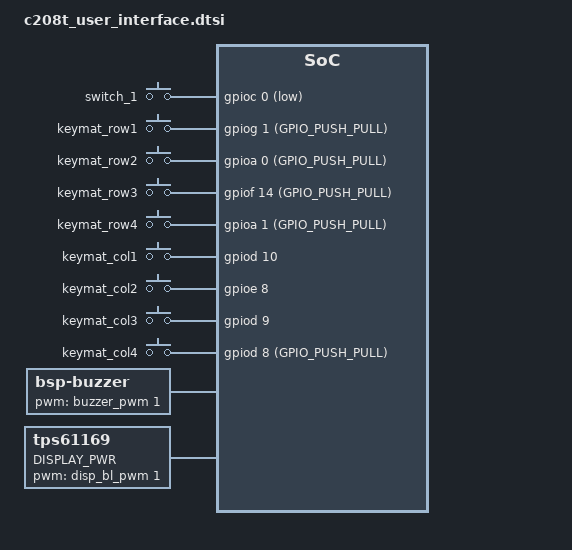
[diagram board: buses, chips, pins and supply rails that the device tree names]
/*
 * Copyright (c) 2024 Acme CPU
 *
 */

/*
	Note:
	All of the switches cannot have an interrupt because of limited number of EXTI IRQn of STM32H7
	see reference manual section 15.4:
		the Pn0 are grouped to EXTI0, similarly Pn1 are grouped to EXTI1 and so on.
		That means if PD6 is configured are an EXTI6 interrupt, we cannot configure PA6 as
		that EXTI line is already used and we will bet a -EBUSY (-16) error number
		
	A solution to this will be to have EXTI on one switch, i.e. power and others should be polled
*/

/ {
	keypad_matrix {
		compatible = "gpio-keys";
			
	    switch_1: switch_1 {
	      gpios = <&gpioc 0 (GPIO_PULL_UP | GPIO_ACTIVE_LOW)>;
	    };
	
	    keymat_row1: key_io_1 {
	      gpios = <&gpiog 1 (GPIO_PUSH_PULL)>;
	    };
	
	    keymat_row2: key_io_2 {
	      gpios = <&gpioa 0 (GPIO_PUSH_PULL)>;
	    };
	
	    keymat_row3: key_io_3 {
	      gpios = <&gpiof 14 (GPIO_PUSH_PULL)>;
	    };
	
	    keymat_row4: key_io_4 {
	      gpios = <&gpioa 1 (GPIO_PUSH_PULL)>;
	    };
	
	    keymat_col1: key_io_5 {
	      gpios = <&gpiod 10 (GPIO_PULL_DOWN)>;
	    };
	
	    keymat_col2: key_io_6 {
	      gpios = <&gpioe 8 (GPIO_PULL_DOWN)>;
	    };
	
	    keymat_col3: key_io_7 {
	      gpios = <&gpiod 9 (GPIO_PULL_DOWN)>;
	    };

	    keymat_col4: key_io_8 {
	      gpios = <&gpiod 8 (GPIO_PUSH_PULL)>;
	    };
	};
	
	buzz: buzzer {
		compatible = "bsp-buzzer";
		status = "okay";
		
		pwms =  <&buzzer_pwm 1 250 PWM_POLARITY_NORMAL>;	/* period given in micro seconds for 4kHz freq buzzer */
		pwm-names = "buzzer-ctrl";

		label = "BUZZER";
	};
	
	display_pwr: display_pwr {
		compatible = "tps61169";
		status = "okay";
		
		pwms =  <&disp_bl_pwm 1 200 PWM_POLARITY_NORMAL>;	/* period given in micro seconds for 5kHz signal */
		pwm-names = "disp-brightness";

		label = "DISPLAY_PWR";
	};
};
